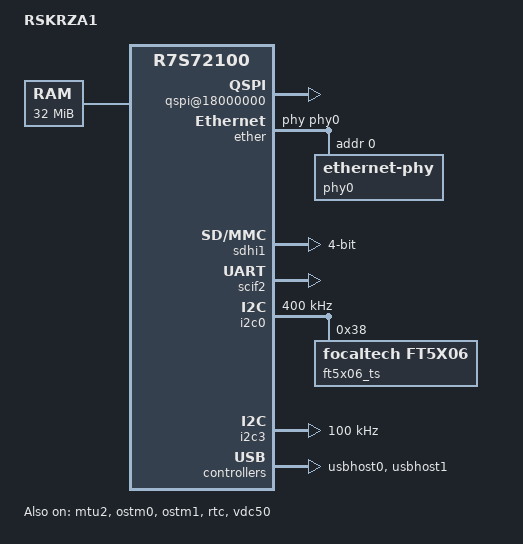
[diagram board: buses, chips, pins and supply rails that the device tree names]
/*
 * Device Tree Source for the RZ/A1H RSK board
 *
 * Copyright (C) 2016 Renesas Electronics
 *
 * This file is licensed under the terms of the GNU General Public License
 * version 2.  This program is licensed "as is" without any warranty of any
 * kind, whether express or implied.
 */

/dts-v1/;
#include "r7s72100.dtsi"

/ {
	model = "RSKRZA1";
	compatible = "renesas,rskrza1", "renesas,r7s72100";

	aliases {
		serial0 = &scif2;
	};

	chosen {
		bootargs = "ignore_loglevel earlyprintk earlycon=scif,0xE8008000 root=/dev/mtdblock0                                              ";
		stdout-path = "serial0:115200n8";
	};

	memory@8000000 {
		device_type = "memory";
		reg = <0x08000000 0x02000000>;
	};

	lbsc {
		#address-cells = <1>;
		#size-cells = <1>;
	};

	/* File System */
	/* Remember, we'll be in dual QSPI XIP mode at this point */
	/* Requires CONFIG_MTD_ROM=y */
	qspi@18000000 {
		compatible = "mtd-rom";
		probe-type = "map_rom";
		reg = <0x18000000 0x4000000>;	/* 64 MB*/
		bank-width = <4>;
		device-width = <1>;

		#address-cells = <1>;
		#size-cells = <1>;

		partition@800000 {
			label ="user";
			reg = <0x0800000 0x800000>; /* 8MB @ 0x18800000 */
			read-only;
		};
	};

};

&extal_clk {
	clock-frequency = <13330000>;
};

&usb_x1_clk {
	clock-frequency = <48000000>;
};

&rtc_x1_clk {
	clock-frequency = <32768>;
};

&mtu2 {
	status = "okay";
};

&ether {
	status = "okay";
	renesas,no-ether-link;
	phy-handle = <&phy0>;
	phy0: ethernet-phy@0 {
		reg = <0>;
	};
};

&sdhi1 {
	bus-width = <4>;
	status = "okay";
};

&ostm0 {
	status = "okay";
};

&ostm1 {
	status = "okay";
};

&rtc {
	status = "okay";
};

&scif2 {
	status = "okay";
};

/* RIIC0 (Touchscreen) */
&i2c0 {
	status = "okay";
	clock-frequency = <400000>;

	ft5x06_ts@38 {
		compatible = "focaltech,ft5x06";
		reg = <0x38>;
		interrupts = <GIC_SPI (33-32) IRQ_TYPE_LEVEL_HIGH>; /* IRQ1 */

		touchscreen-size-x = <800>;
		touchscreen-size-y = <480>;

		/* The touchscreen on the RSK LCD is backwards for some reason */
		touchscreen-inverted-x;
		touchscreen-inverted-y;
	};
};

/* RIIC3: Port Expander, EEPROM (MAC Addr), Audio Codec */
&i2c3 {
	status = "okay";
	clock-frequency = <100000>;
};

&usbhost0 {
	status = "okay";
	xtal-48mhz;
};

&usbhost1 {
	/* NOTE: You MUST enable USB ch0 (host or device) first because
	   there are some shared registers bits in USB0 that USB1 needs. */
	status = "okay";
	xtal-48mhz;
};

/* RSK LCD: 800x600 LCD */
/* Pacer TFT LCD Panel, Model gwp0700cnwv04 */
#if XIP_KERNEL_WITHOUT_EXTERNAL_RAM
  #define VDC5_0_BPP 16 /* 16bpp or 32bpp */
  #define VDC5_0_FBSIZE (800*480*VDC5_0_BPP/8)
  #define VDC5_0_FB_ADDR 0	/* allocate memory at probe */
#else
  #define VDC5_0_BPP 32 /* 16bpp or 32bpp */
  #define VDC5_0_FBSIZE (800*480*VDC5_0_BPP/8)
  #define VDC5_0_FB_ADDR (0x60000000) /* fixed address in PAGE 0 */
#endif

&vdc50 {
	display = <&display0>;
	status = "okay";

	/* Set the physical frame buffer address for internal RAM. */
	fb_phys_addr = <VDC5_0_FB_ADDR>;
	fb_phys_size = <VDC5_0_FBSIZE>;

	panel_name = "gwp0700cnwv04";
	panel_pixel_xres = <800>;	/* panel native resolution */
	panel_pixel_yres = <480>;	/* panel native resolution */


	/* See 'drivers/video/fbdev/renesas/vdc5fb.h' for valid choices
	* for panel_icksel, panel_ocksel, and out_format */
	panel_icksel = <3>;	/* 3=ICKSEL_P1CLK (Peripheral clock 1) */
	panel_ocksel = <0>;	/* (don't care when lvds=0 ) */
	out_format = <0>;	/* 0=OUT_FORMAT_RGB888 */
	use_lvds = <0>;		/* Set to 0 or 1 */

	/* How are the TCON pins going to be used */
	tcon_sel = <
		0xff	/* TCON0: 0xff=TCON_SEL_UNUSED */
		0xff	/* TCON1: 0xff=TCON_SEL_UNUSED */
		7	/* TCON2:    7=TCON_SEL_DE (DATA ENABLE) */
		2	/* TCON3:    2=TCON_SEL_STH (HSYNC) */
		0	/* TCON4:    0=TCON_SEL_STVA (VSYNC) */
		0xff	/* TCON5: 0xff=TCON_SEL_UNUSED */
		0xff	/* TCON6: 0xff=TCON_SEL_UNUSED */
		>;

	display0: display0 {
		bits-per-pixel = <VDC5_0_BPP>;
		bus-width = <24>;

		display-timings {
			native-mode = <&timing0>;
			timing0: timing0 {
				clock-frequency = <33325000>; /* P1 clk / 2 */
				hactive = <800>;
				vactive = <480>;
				hback-porch = <46>;
				hfront-porch = <210>;
				vback-porch = <23>;
				vfront-porch = <22>;
				hsync-len = <40>; /* max */
				vsync-len = <20>; /* max */
				hsync-active = <1>; /* HIGH */
				vsync-active = <1>; /* HIGH */
				de-active = <0>; /* LOW */
				pixelclk-active = <0>; /* ??? */
			};
		};
	};
};

